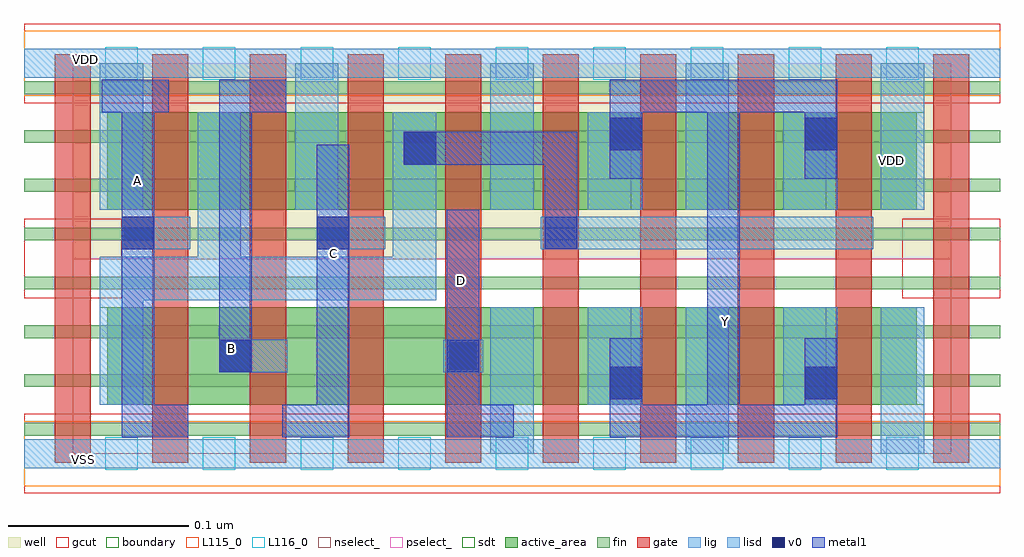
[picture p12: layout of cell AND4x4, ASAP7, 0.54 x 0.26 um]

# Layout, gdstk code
import gdstk
lib = gdstk.Library(unit=1e-6, precision=2.5e-10)
def R(c, l, rs):  # rectangles x0, y0, x1, y1
    for r in rs: c.add(gdstk.rectangle(r[:2], r[2:], *l))
def A(c, l, x, y, w, h, nx, ny, dx, dy):  # array of equal rectangles
    R(c, l, [(x+i*dx, y+j*dy, x+i*dx+w, y+j*dy+h) for i in range(nx) for j in range(ny)])
def P(c, l, *ps):  # polygons
    for p in ps: c.add(gdstk.Polygon(p, *l))
well = (1, 0)
fin = (2, 0)
gate = (7, 0)
gcut = (10, 0)
active_area = (11, 0)
nselect_ = (12, 0)
pselect_ = (13, 0)
lig = (16, 0)
lisd = (17, 0)
v0 = (18, 0)
metal1 = (19, 0)
sdt = (88, 0)
boundary = (100, 0)
L115_0 = (115, 0)
L116_0 = (116, 0)

and4x4 = lib.new_cell('AND4x4')
R(and4x4, well, [(0,0.108,0.486,0.216)])
A(and4x4, fin, -0.027, 0.01, 0.54, 0.007, 1, 8, 0, 0.027)
A(and4x4, gate, -0.01, -0.005, 0.02, 0.226, 7, 1, 0.054, 0)
A(and4x4, gate, 0.314, -0.005, 0.02, 0.226, 4, 1, 0.054, 0)
R(and4x4, gate, [(0.314,-0.005,0.334,0.221), (0.314,-0.005,0.334,0.221)])
R(and4x4, gcut, [(-0.027,-0.022,0.513,0.022), (-0.027,0.086,0.027,0.13), (0.459,0.086,0.513,0.13), (-0.027,0.194,0.513,0.238)])
R(and4x4, active_area, [(0.019,0.027,0.467,0.081), (0.019,0.135,0.467,0.189)])
R(and4x4, nselect_, [(0,0,0.486,0.108)])
R(and4x4, pselect_, [(0,0.108,0.486,0.216)])
R(and4x4, lig, [(-0.027,-0.008,0.513,0.008), (0.081,0.045,0.119,0.063), (0.205,0.045,0.227,0.063), (0.027,0.113,0.065,0.131), (0.135,0.113,0.173,0.131), (0.259,0.113,0.443,0.131), (-0.027,0.208,0.513,0.224)])
A(and4x4, lisd, 0.231, 0, 0.024, 0.081, 3, 1, 0.108, 0)
A(and4x4, lisd, 0.015, 0.135, 0.024, 0.081, 5, 1, 0.108, 0)
R(and4x4, lisd, [(0.285,0.027,0.315,0.081), (0.393,0.027,0.423,0.081), (0.015,0.135,0.039,0.216), (0.285,0.135,0.315,0.189), (0.393,0.135,0.423,0.189)])
P(and4x4, lisd, [(0.201,0.085),(0.039,0.085),(0.039,0.027),(0.015,0.027),(0.015,0.109),(0.069,0.109),(0.069,0.189),(0.093,0.189),(0.093,0.109),(0.177,0.109),(0.177,0.189),(0.201,0.189)])
R(and4x4, v0, [(0.297,0.03,0.315,0.048), (0.405,0.03,0.423,0.048), (0.081,0.045,0.099,0.063), (0.207,0.045,0.225,0.063), (0.027,0.113,0.045,0.131), (0.135,0.113,0.153,0.131), (0.261,0.113,0.279,0.131), (0.183,0.16,0.201,0.178), (0.297,0.168,0.315,0.186), (0.405,0.168,0.423,0.186)])
R(and4x4, metal1, [(0.027,0.009,0.064,0.027), (0.027,0.009,0.045,0.207), (0.116,0.009,0.153,0.027), (0.135,0.009,0.153,0.171), (0.207,0.009,0.244,0.027), (0.207,0.009,0.225,0.135), (0.297,0.009,0.423,0.027), (0.297,0.009,0.315,0.064), (0.351,0.009,0.369,0.207), (0.405,0.009,0.423,0.064), (0.081,0.045,0.099,0.207), (0.261,0.113,0.279,0.178), (0.297,0.152,0.315,0.207), (0.405,0.152,0.423,0.207), (0.183,0.16,0.279,0.178), (0.016,0.189,0.053,0.207), (0.081,0.189,0.118,0.207), (0.297,0.189,0.423,0.207)])
A(and4x4, sdt, 0.231, 0.027, 0.024, 0.054, 5, 1, 0.054, 0)
A(and4x4, sdt, 0.015, 0.135, 0.024, 0.054, 9, 1, 0.054, 0)
R(and4x4, sdt, [(0.015,0.027,0.039,0.081)])
R(and4x4, boundary, [(0,0,0.486,0.216)])
R(and4x4, L115_0, [(-0.027,-0.018,0.513,0.018), (-0.027,0.198,0.513,0.234)])
A(and4x4, L116_0, 0.018, -0.009, 0.018, 0.018, 9, 2, 0.054, 0.216)
and4x4.add(gdstk.Label('D', (0.215,0.096), layer=19, texttype=251))
and4x4.add(gdstk.Label('C', (0.144,0.111), layer=19, texttype=251))
and4x4.add(gdstk.Label('B', (0.088,0.058), layer=19, texttype=251))
and4x4.add(gdstk.Label('Y', (0.361,0.073), layer=19, texttype=251))
and4x4.add(gdstk.Label('A', (0.036,0.151), layer=19, texttype=251))
and4x4.add(gdstk.Label('VDD', (0.453,0.162), layer=1, texttype=251))
and4x4.add(gdstk.Label('VSS', (0.535,0.162), layer=3, texttype=251))
and4x4.add(gdstk.Label('VDD', (0.007,0.218), layer=115, texttype=251))
and4x4.add(gdstk.Label('VSS', (0.006,-0.003), layer=115, texttype=251))

lib.write_gds('AND4x4.gds')
